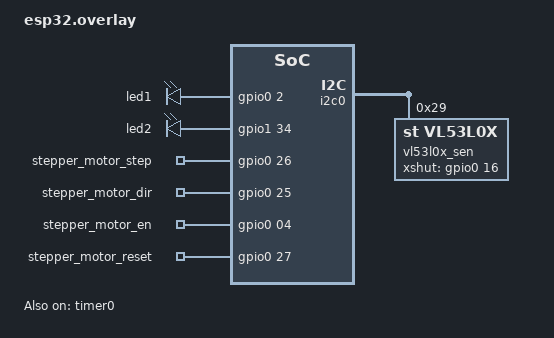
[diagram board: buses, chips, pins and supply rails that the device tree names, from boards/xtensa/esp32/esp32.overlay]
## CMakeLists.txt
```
# SPDX-License-Identifier: Apache-2.0

cmake_minimum_required(VERSION 3.20.0)


find_package(Zephyr REQUIRED HINTS $ENV{ZEPHYR_BASE})

# set(PROJECT_NAME MR_SLDR)

project(MR_SLDR)

target_sources(app PRIVATE 
  src/main.c
  src/slider.c
  src/slider.h
  src/stepper_motor.c
  src/stepper_motor.h
  src/led_manager.c
  src/led_manager.h
  src/distanceMeter.c
  src/distanceMeter.h
  src/slider_bt.c
  src/slider_bt.h
)

# Optionally, you can create a custom target just for creating the symlink
add_custom_target(CreateCompileCommandsSymlink ALL
    DEPENDS ${CMAKE_BINARY_DIR}/compile_commands.json
    COMMAND ${CMAKE_COMMAND} -E create_symlink
    ${CMAKE_BINARY_DIR}/compile_commands.json
    ${CMAKE_SOURCE_DIR}/compile_commands.json
    COMMENT "Creating symbolic link for compile_commands.json in the project root"
)

# Link for purpose of `west espressif monitor` command
add_custom_target(CreateBuildSymlink ALL
    COMMAND ${CMAKE_COMMAND} -E create_symlink
    ${CMAKE_BINARY_DIR}
    ${CMAKE_SOURCE_DIR}/build
    COMMENT "Creating symbolic link 'build' pointing to the current build directory"
)
```

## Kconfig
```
# Copyright (c) 2023 Mikolaj Markiel
# MIT License

# User config for enabling timer autoreset after getting callback
# Be sure to use modified version of counter_esp32_tmr.c library
# More information in README.md file

source "Kconfig.zephyr"

config COUNTER_AUTORELOAD
  bool
  default y
```

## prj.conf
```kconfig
#
# Reference: https://docs.zephyrproject.org/2.7.5/reference/kconfig/index-all.html
#
# Increased stack due to settings API usage
CONFIG_SYSTEM_WORKQUEUE_STACK_SIZE=2048
CONFIG_LOG=y
CONFIG_BT=y
# CONFIG_BT_DEBUG_LOG=y
CONFIG_LOG_DEFAULT_LEVEL=3
CONFIG_LOG_PROCESS_THREAD_SLEEP_MS=100
# CONFIG_NEWLIB_LIBC_FLOAT_PRINTF=y
CONFIG_BT_SMP=y
# CONFIG_BT_DEBUG_SMP=y
CONFIG_BT_SIGNING=y
CONFIG_BT_PERIPHERAL=y
CONFIG_BT_DIS=y
CONFIG_BT_ATT_PREPARE_COUNT=5
CONFIG_BT_PRIVACY=y
CONFIG_BT_DEVICE_NAME="Slider"
CONFIG_BT_DEVICE_APPEARANCE=833
CONFIG_BT_DEVICE_NAME_DYNAMIC=y
CONFIG_BT_DEVICE_NAME_MAX=65

CONFIG_BT_KEYS_OVERWRITE_OLDEST=y
# CONFIG_BT_SETTINGS=y # Not in use. See reference

CONFIG_FLASH=y
CONFIG_FLASH_PAGE_LAYOUT=y
CONFIG_FLASH_MAP=y
CONFIG_NVS=y
CONFIG_COUNTER=y

CONFIG_I2C=y
CONFIG_GPIO=y
CONFIG_SENSOR=y
CONFIG_NEWLIB_LIBC=y
# CONFIG_DEBUG=y

# CONFIG_UART_CONSOLE=y
```

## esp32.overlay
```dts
/ {
	leds {
		compatible = "gpio-leds";
     // camera_control1: camera_control1 { 
     //   gpios = <&gpio1 35 GPIO_ACTIVE_LOW>; 
     // }; 
     // camera_control2: camera_control2 { 
     //   gpios = <&gpio1 35 GPIO_ACTIVE_LOW>; 
     // }; 
     // led1: led1 { 
     //   gpios = <&gpio1 35 GPIO_ACTIVE_HIGH>; 
     // }; 
     // led2: led2 { 
     //   gpios = <&gpio1 34 GPIO_ACTIVE_HIGH>; 
     // }; 
     // led3: led3 { 
     //   gpios = <&gpio1 39 GPIO_ACTIVE_HIGH>; 
     // }; 
     // led4: led4 { 
     //   gpios = <&gpio1 36 GPIO_ACTIVE_HIGH>; 
     // }; 
     // stepper_motor_step: stepper_motor_step { 
     //   gpios = <&gpio0 26 GPIO_ACTIVE_HIGH>; 
     // }; 
     // stepper_motor_dir: stepper_motor_dir { 
     //   gpios = <&gpio0 25 GPIO_ACTIVE_HIGH>; 
     // }; 
     // stepper_motor_en: stepper_motor_en { 
     //   gpios = <&gpio0 04 GPIO_ACTIVE_HIGH>; 
     // }; 
     // stepper_motor_reset: stepper_motor_reset { 
     //   gpios = <&gpio0 04 GPIO_ACTIVE_HIGH>; 
     // }; 
     // stepper_motor_fault: stepper_motor_fault { 
     //   gpios = <&gpio0 04 GPIO_ACTIVE_HIGH>; 
     // }; 
		stepper_motor_step: stepper_motor_step {
			gpios = <&gpio0 2 GPIO_ACTIVE_HIGH>;
		};
		stepper_motor_dir: stepper_motor_dir {
			gpios = <&gpio0 27 GPIO_ACTIVE_HIGH>;
		};
		stepper_motor_en: stepper_motor_en {
			gpios = <&gpio0 26 GPIO_ACTIVE_HIGH>;
		};
	};
};
&timer0 {
  status = "okay";
  prescaler = <80>;
};
&i2c0 {
 vl53l0x_sen: vl53l0x@29{
    compatible = "st,vl53l0x"; 
    reg = < 0x29 >;
    status = "okay";
    friendly-name = "rangefinder";
    xshut-gpios = <&gpio0 16 GPIO_ACTIVE_HIGH>;
  };
};

/* GPIO distribution: */
/* gpio0: */
/*   - 00 - Boot */
/*   - 01 - UART0.TX */
/*   - 02 - U.BATT */
/*   - 03 - UART0.RX */
/*   - 04 - !MOTOR.EN */
/*   - 05 - VSPI.CS */
/*   - 06 -  */
/*   - 07 -  */
/*   - 08 -  */
/*   - 09 -  */
/*   - 10 -  */
/*   - 11 -  */
/*   - 12 - JTAG.TDI */
/*   - 13 - JTAG.TCK */
/*   - 14 - JTAG.TMS */
/*   - 15 - JTAG.TDO */
/*   - 16 - DISTANCE_METER_EN */
/*   - 17 - !MOTOR.FAULT */
/*   - 18 - VSPI.SCK */
/*   - 19 - VSPI.SDI */
/*   - 20 -  */
/*   - 21 - I2C0.SDA */
/*   - 22 - I2C0.SCL */
/*   - 23 - VSPI.SDO */
/*   - 24 -  */
/*   - 25 - MOTOR.DIR */
/*   - 26 - MOTOR.STEP */
/*   - 27 - !MOTOR.RESET */
/*   - 28 -  */
/*   - 29 -  */
/*   - 30 -  */
/*   - 31 -  */
/* gpio1: */
/*   - 32 - !CC1.EN */
/*   - 33 - !CC2.EN */
/*   - 34 - LED2.EN */
/*   - 35 - LED1.EN */
/*   - 36 - LED4.EN */
/*   - 37 -  */
/*   - 38 -  */
/*   - 39 - LED3.EN */
```

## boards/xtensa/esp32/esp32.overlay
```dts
/ {
	leds {
		compatible = "gpio-leds";
     // camera_control1: camera_control1 { 
     //   gpios = <&gpio1 35 GPIO_ACTIVE_LOW>; 
     // }; 
     // camera_control2: camera_control2 { 
     //   gpios = <&gpio1 35 GPIO_ACTIVE_LOW>; 
     // }; 
     led1: led1 { 
       gpios = <&gpio0 2 GPIO_ACTIVE_HIGH>; 
     }; 
     led2: led2 { 
       gpios = <&gpio1 34 GPIO_ACTIVE_HIGH>; 
     }; 
     // led3: led3 { 
     //   gpios = <&gpio1 39 GPIO_ACTIVE_HIGH>; 
     // }; 
     // led4: led4 { 
     //   gpios = <&gpio1 36 GPIO_ACTIVE_HIGH>; 
     // }; 
     stepper_motor_step: stepper_motor_step { 
       gpios = <&gpio0 26 GPIO_ACTIVE_HIGH>; 
     }; 
     stepper_motor_dir: stepper_motor_dir { 
       gpios = <&gpio0 25 GPIO_ACTIVE_HIGH>; 
     }; 
     stepper_motor_en: stepper_motor_en { 
       gpios = <&gpio0 04 GPIO_ACTIVE_HIGH>; 
     }; 
     stepper_motor_reset: stepper_motor_reset { 
       gpios = <&gpio0 27 GPIO_ACTIVE_HIGH>; 
     }; 
     // stepper_motor_fault: stepper_motor_fault { 
     //   gpios = <&gpio0 04 GPIO_ACTIVE_HIGH>; 
     // }; 
	};
};
&timer0 {
  status = "okay";
  prescaler = <80>;
};
&i2c0 {
 vl53l0x_sen: vl53l0x@29{
    compatible = "st,vl53l0x"; 
    reg = < 0x29 >;
    status = "okay";
    friendly-name = "distance-meter";
    xshut-gpios = <&gpio0 16 GPIO_ACTIVE_HIGH>;
  };
};

/* GPIO distribution: */
/* gpio0: */
/*   - 00 - Boot */
/*   - 01 - UART0.TX */
/*   - 02 - U.BATT */
/*   - 03 - UART0.RX */
/*   - 04 - !MOTOR.EN */
/*   - 05 - VSPI.CS */
/*   - 06 -  */
/*   - 07 -  */
/*   - 08 -  */
/*   - 09 -  */
/*   - 10 -  */
/*   - 11 -  */
/*   - 12 - JTAG.TDI */
/*   - 13 - JTAG.TCK */
/*   - 14 - JTAG.TMS */
/*   - 15 - JTAG.TDO */
/*   - 16 - DISTANCE_METER_EN */
/*   - 17 - !MOTOR.FAULT */
/*   - 18 - VSPI.SCK */
/*   - 19 - VSPI.SDI */
/*   - 20 -  */
/*   - 21 - I2C0.SDA */
/*   - 22 - I2C0.SCL */
/*   - 23 - VSPI.SDO */
/*   - 24 -  */
/*   - 25 - MOTOR.DIR */
/*   - 26 - MOTOR.STEP */
/*   - 27 - !MOTOR.RESET */
/*   - 28 -  */
/*   - 29 -  */
/*   - 30 -  */
/*   - 31 -  */
/* gpio1: */
/*   - 32 - !CC1.EN */
/*   - 33 - !CC2.EN */
/*   - 34 - LED2.EN */
/*   - 35 - LED1.EN */
/*   - 36 - LED4.EN */
/*   - 37 -  */
/*   - 38 -  */
/*   - 39 - LED3.EN */
```

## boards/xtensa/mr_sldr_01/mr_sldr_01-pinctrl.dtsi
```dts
/*
 * Copyright (c) 2022 Espressif Systems (Shanghai) Co., Ltd.
 *
 * SPDX-License-Identifier: Apache-2.0
 */

#include <zephyr/dt-bindings/pinctrl/esp-pinctrl-common.h>
#include <dt-bindings/pinctrl/esp32-pinctrl.h>
#include <zephyr/dt-bindings/pinctrl/esp32-gpio-sigmap.h>

&pinctrl {
	//
	uart0_default: uart0_default {
		group1 {
			pinmux = <UART0_TX_GPIO1>;
		};
		group2 {
			pinmux = <UART0_RX_GPIO3>;
			bias-pull-up;
		};
	};

	i2c0_default: i2c0_default {
		group1 {
			pinmux = <I2C0_SDA_GPIO21>,
				 <I2C0_SCL_GPIO22>;
			bias-pull-up;
			drive-open-drain;
			output-high;
		};
	};
};
```

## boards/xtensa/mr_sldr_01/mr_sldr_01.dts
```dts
/*
 * Copyright (c) 2021 Espressif Systems (Shanghai) Co., Ltd.
 *
 * SPDX-License-Identifier: Apache-2.0
 */
/dts-v1/;

#include <espressif/esp32.dtsi>
#include "mr_sldr_01-pinctrl.dtsi"

/ {
	model = "mr_sldr_01";
	compatible = "espressif,esp32";

	chosen {
		zephyr,sram = &sram0;
		zephyr,console = &uart0;
		zephyr,shell-uart = &uart0;
		zephyr,flash = &flash0;
	};

	leds {
		compatible = "gpio-leds";
     // camera_control1: camera_control1 { 
     //   gpios = <&gpio1 0 GPIO_ACTIVE_LOW>; 
     // }; 
     // camera_control2: camera_control2 { 
     //   gpios = <&gpio1 1 GPIO_ACTIVE_LOW>; 
     // }; 
     led1: led1 { 
       gpios = <&gpio1 0 GPIO_ACTIVE_HIGH>; 
     }; 
     led2: led2 { 
       gpios = <&gpio1 1 GPIO_ACTIVE_HIGH>; 
     }; 
     // led3: led3 { 
     //   gpios = <&gpio1 7 GPIO_ACTIVE_HIGH>; 
     // }; 
     // led4: led4 { 
     //   gpios = <&gpio1 4 GPIO_ACTIVE_HIGH>; 
     // }; 
     stepper_motor_step: stepper_motor_step { 
       gpios = <&gpio0 26 GPIO_ACTIVE_HIGH>; 
     }; 
     stepper_motor_dir: stepper_motor_dir { 
       gpios = <&gpio0 25 GPIO_ACTIVE_HIGH>; 
     }; 
     stepper_motor_en: stepper_motor_en { 
       gpios = <&gpio0 04 GPIO_ACTIVE_LOW>; 
     }; 
     stepper_motor_reset: stepper_motor_reset { 
       gpios = <&gpio0 27 GPIO_ACTIVE_LOW>; 
     }; 
     // stepper_motor_fault: stepper_motor_fault { 
     //   gpios = <&gpio0 04 GPIO_ACTIVE_HIGH>; 
     // }; 
	};
};

&cpu0 {
	clock-frequency = <ESP32_CLK_CPU_240M>;
};

&cpu1 {
	clock-frequency = <ESP32_CLK_CPU_240M>;
};

&uart0 {
	status = "okay";
	current-speed = <115200>;
	pinctrl-0 = <&uart0_default>;
	pinctrl-names = "default";
};

&gpio0 {
	status = "okay";
};

&gpio1 {
	status = "okay";
};

&i2c0 {
  clock-frequency = <I2C_BITRATE_STANDARD>;
  pinctrl-0 = <&i2c0_default>;
  pinctrl-names = "default";
  status = "okay";
  sda-gpios = <&gpio0 21 GPIO_OPEN_DRAIN>;
  scl-gpios = <&gpio0 22 GPIO_OPEN_DRAIN>;
 vl53l0x_sen: vl53l0x@29{
    compatible = "st,vl53l0x"; 
    reg = < 0x29 >;
    status = "okay";
    friendly-name = "rangefinder";
    xshut-gpios = <&gpio0 16 GPIO_ACTIVE_HIGH>;
  };
};

&trng0 {
	status = "okay";
};

&timer0 {
	status = "okay";
  prescaler = <80>;
};

&flash0 {
	status = "okay";
	partitions {
		compatible = "fixed-partitions";
		#address-cells = <1>;
		#size-cells = <1>;

		/* Reserve 60kB for the bootloader */
		boot_partition: partition@1000 {
			label = "mcuboot";
			reg = <0x00001000 0x0000F000>;
			read-only;
		};

		/* Reserve 1024kB for the application in slot 0 */
		slot0_partition: partition@10000 {
			label = "image-0";
			reg = <0x00010000 0x00100000>;
		};

		/* Reserve 1024kB for the application in slot 1 */
		slot1_partition: partition@110000 {
			label = "image-1";
			reg = <0x00110000 0x00100000>;
		};

		/* Reserve 256kB for the scratch partition */
		scratch_partition: partition@210000 {
			   label = "image-scratch";
			   reg = <0x00210000 0x00040000>;
		};

		storage_partition: partition@250000 {
			label = "storage";
			reg = <0x00250000 0x00006000>;
		};
	};
};
```

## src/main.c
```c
/*
Copyright (c) 2023 Mikolaj Markiel

Permission is hereby granted, free of charge, to any person obtaining a copy
of this software and associated documentation files (the "Software"), to deal
in the Software without restriction, including without limitation the rights
to use, copy, modify, merge, publish, distribute, sublicense, and/or sell
copies of the Software, and to permit persons to whom the Software is
furnished to do so, subject to the following conditions:

The above copyright notice and this permission notice shall be included in all
copies or substantial portions of the Software.

THE SOFTWARE IS PROVIDED "AS IS", WITHOUT WARRANTY OF ANY KIND, EXPRESS OR
IMPLIED, INCLUDING BUT NOT LIMITED TO THE WARRANTIES OF MERCHANTABILITY,
FITNESS FOR A PARTICULAR PURPOSE AND NONINFRINGEMENT. IN NO EVENT SHALL THE
AUTHORS OR COPYRIGHT HOLDERS BE LIABLE FOR ANY CLAIM, DAMAGES OR OTHER
LIABILITY, WHETHER IN AN ACTION OF CONTRACT, TORT OR OTHERWISE, ARISING FROM,
OUT OF OR IN CONNECTION WITH THE SOFTWARE OR THE USE OR OTHER DEALINGS IN THE
SOFTWARE.
*/

#include "distanceMeter.h"
#include "slider_bt.h"
#include "slider.h"
#include "led_manager.h"

#include <zephyr/kernel.h>
#include <zephyr/logging/log.h>

#include <stdbool.h>

LOG_MODULE_REGISTER(app);

struct appHandler {
    slider_ptr_t slider;
    slider_bt_ptr_t slider_bt;
    distanceMeter_ptr_t distanceMeter;
};

struct appHandler appHandler;

int app_init(void);

int main(void) 
{
    int result = 0;
    if (0 == (result = app_init())) 
    {
        while (1) 
        {
            // distanceMeter_meas(appHandler.distanceMeter);
            leds_blocking_test();
            k_msleep(100);
        }
    }
    return result;
}

int app_init(void) {
    int result;
    int err;
    if (0 != (err = leds_init())) 
    {
        LOG_ERR("Leds init failed [%d]", err);
        result = -1;
    }
    else if (NULL == (appHandler.slider = slider_init()))
    {
        LOG_ERR("Slider init failed");
        result = -2;
    }
    else if (0 != (err = distanceMeter_init(&appHandler.distanceMeter))) {
        LOG_ERR("Distance meter init failed (err %d)", err);
        result = -3;
    }
    else if (0 != (err = slider_bt_init(appHandler.slider)))
    {
        LOG_ERR("Bluetooth module init failed [%d]", err);
        result = -4;
    }
    else 
    {
        LOG_INF("Application started successfully");
        // slider_start(appHandler.slider); // TODO remove

        // slider_config_t s_config = {
        //     .start_pos      = 5,
        //     .end_pos        = 3,
        //     .duration       = 10,
        //     .speed          = 10,
        //     .intervals      = 10,
        //     .interval_delay = 10,
        //     .soft_start     = 10,
        // };
        // slider_updateConfig(appHandler.slider, &s_config);



        result = 0;
    }

    return result;
}
```

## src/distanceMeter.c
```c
/*
Copyright (c) 2023 Mikolaj Markiel

Permission is hereby granted, free of charge, to any person obtaining a copy
of this software and associated documentation files (the "Software"), to deal
in the Software without restriction, including without limitation the rights
to use, copy, modify, merge, publish, distribute, sublicense, and/or sell
copies of the Software, and to permit persons to whom the Software is
furnished to do so, subject to the following conditions:

The above copyright notice and this permission notice shall be included in all
copies or substantial portions of the Software.

THE SOFTWARE IS PROVIDED "AS IS", WITHOUT WARRANTY OF ANY KIND, EXPRESS OR
IMPLIED, INCLUDING BUT NOT LIMITED TO THE WARRANTIES OF MERCHANTABILITY,
FITNESS FOR A PARTICULAR PURPOSE AND NONINFRINGEMENT. IN NO EVENT SHALL THE
AUTHORS OR COPYRIGHT HOLDERS BE LIABLE FOR ANY CLAIM, DAMAGES OR OTHER
LIABILITY, WHETHER IN AN ACTION OF CONTRACT, TORT OR OTHERWISE, ARISING FROM,
OUT OF OR IN CONNECTION WITH THE SOFTWARE OR THE USE OR OTHER DEALINGS IN THE
SOFTWARE.
*/

#include <stdio.h>
#include <stdlib.h>
#include <zephyr/device.h>
#include <zephyr/drivers/sensor.h>
#include <zephyr/kernel.h>

#include "distanceMeter.h"
#include "zephyr/logging/log.h"

#define VL53L0X_DEVICE st_vl53l0x
#define VL53L0X_SAMPLES 10

// TODO: The 250 samples took around 10 seconds to complete, so the delay for every sample is around 40ms
// need to send it to interrupt or even another thread to not block the main thread
// reduce samples to 10 or 20

LOG_MODULE_REGISTER(distanceMeter);

typedef struct distanceMeter
{
    const struct device *vl53l0x_dev;
    // struct sensor_value value;
    int val_mm;
} distanceMeter_t;

// const struct device *const vl53l0x_dev = DEVICE_DT_GET_ONE(st_vl53l0x);
// struct sensor_value distanceMeter_value;


int distanceMeter_init(distanceMeter_ptr_t *pHandle) 
{
    int result = 0;
    distanceMeter_t *distanceMeter = NULL;
    if(NULL == pHandle)
    {
        result = -1;
    }
    else if (NULL == (*pHandle = malloc(sizeof(distanceMeter_t))))
    {
        result = -2;
    }
    else 
    {
        (*pHandle)->vl53l0x_dev = DEVICE_DT_GET_ONE(VL53L0X_DEVICE);
        if(0 == device_is_ready((*pHandle)->vl53l0x_dev))
        {
            result = -3;
        }
        else
        {
            result = 0;
        }
    }

    if (0 != result)
    {
        free(*pHandle);
        *pHandle = NULL;
    }
    return result;
}

int distanceMeter_deinit(distanceMeter_ptr_t *pHandle) 
{
    return 0;
}

int distanceMeter_meas(distanceMeter_ptr_t pHandle) {

    int result = -1;
    int err;
    int value = 0;
    struct sensor_value average = {0}, temp = {0};

    if(NULL == pHandle)
    {
        result = -1;
    }
    else if(0 != sensor_sample_fetch_chan(pHandle->vl53l0x_dev, SENSOR_CHAN_DISTANCE))
    {
        result = -1;
    }
    else if(0 != sensor_channel_get(pHandle->vl53l0x_dev, SENSOR_CHAN_DISTANCE, &temp))
    {
        result = -2;
    }
    // else
    // {
    //     result = 0;
    // }

    else 
    {
        // assume good result
        result = 0;

        for (int i = 0; i < VL53L0X_SAMPLES; i++) 
        {
            if(0 != sensor_sample_fetch_chan(pHandle->vl53l0x_dev, SENSOR_CHAN_DISTANCE))
            {
                result = -1;
            }
            else if(0 != sensor_channel_get(pHandle->vl53l0x_dev, SENSOR_CHAN_DISTANCE, &temp))
            {
                result = -2;
            }
            // else 
            // {
            //     // count running average
            //     average.val1 += (temp.val1 - average.val1) / (i + 1);
            //     average.val2 += (temp.val2 - average.val2) / (i + 1);
            // }
            else
            {
                average.val1 += temp.val1;
                average.val2 += temp.val2;
            }
            // value = sensor.val1 * 1000;
            // value += (sensor.val2 / 1000);
        }
        average.val1 /= VL53L0X_SAMPLES;
        average.val2 /= VL53L0X_SAMPLES;

        value = ((average.val1 * 1000) + (average.val2 / 1000)); // value in mm
    }

    if (0 == result)
    {
        pHandle->val_mm = value;
        LOG_INF("val_mm = %d", value);
    }
    else 
    {
        LOG_ERR("distanceMeter_meas failed [%d]", result);
    }

    return result;
    }

int distance_to_cm(struct sensor_value *val) {
  return val->val1 * 100 + val->val2 / 10000;
}
```

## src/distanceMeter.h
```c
/*
Copyright (c) 2023 Mikolaj Markiel

Permission is hereby granted, free of charge, to any person obtaining a copy
of this software and associated documentation files (the "Software"), to deal
in the Software without restriction, including without limitation the rights
to use, copy, modify, merge, publish, distribute, sublicense, and/or sell
copies of the Software, and to permit persons to whom the Software is
furnished to do so, subject to the following conditions:

The above copyright notice and this permission notice shall be included in all
copies or substantial portions of the Software.

THE SOFTWARE IS PROVIDED "AS IS", WITHOUT WARRANTY OF ANY KIND, EXPRESS OR
IMPLIED, INCLUDING BUT NOT LIMITED TO THE WARRANTIES OF MERCHANTABILITY,
FITNESS FOR A PARTICULAR PURPOSE AND NONINFRINGEMENT. IN NO EVENT SHALL THE
AUTHORS OR COPYRIGHT HOLDERS BE LIABLE FOR ANY CLAIM, DAMAGES OR OTHER
LIABILITY, WHETHER IN AN ACTION OF CONTRACT, TORT OR OTHERWISE, ARISING FROM,
OUT OF OR IN CONNECTION WITH THE SOFTWARE OR THE USE OR OTHER DEALINGS IN THE
SOFTWARE.
*/

#ifndef __DISTANCE_METER__
#define __DISTANCE_METER__

#ifdef __cplusplus
extern "C" {
#endif

#include <zephyr/drivers/sensor.h>
#include <zephyr/kernel.h>

// extern struct sensor_value distanceMeter_value;

typedef struct distanceMeter *distanceMeter_ptr_t;

int distanceMeter_init(distanceMeter_ptr_t *pHandle);

int distanceMeter_meas(distanceMeter_ptr_t pHandle);

int distance_to_cm(struct sensor_value *val);

#ifdef __cplusplus
}
#endif

#endif //__DISTANCE_METER__
```

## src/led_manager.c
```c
/*
Copyright (c) 2023 Mikolaj Markiel

Permission is hereby granted, free of charge, to any person obtaining a copy
of this software and associated documentation files (the "Software"), to deal
in the Software without restriction, including without limitation the rights
to use, copy, modify, merge, publish, distribute, sublicense, and/or sell
copies of the Software, and to permit persons to whom the Software is
furnished to do so, subject to the following conditions:

The above copyright notice and this permission notice shall be included in all
copies or substantial portions of the Software.

THE SOFTWARE IS PROVIDED "AS IS", WITHOUT WARRANTY OF ANY KIND, EXPRESS OR
IMPLIED, INCLUDING BUT NOT LIMITED TO THE WARRANTIES OF MERCHANTABILITY,
FITNESS FOR A PARTICULAR PURPOSE AND NONINFRINGEMENT. IN NO EVENT SHALL THE
AUTHORS OR COPYRIGHT HOLDERS BE LIABLE FOR ANY CLAIM, DAMAGES OR OTHER
LIABILITY, WHETHER IN AN ACTION OF CONTRACT, TORT OR OTHERWISE, ARISING FROM,
OUT OF OR IN CONNECTION WITH THE SOFTWARE OR THE USE OR OTHER DEALINGS IN THE
SOFTWARE.
*/

#include "led_manager.h"

#include <zephyr/drivers/gpio.h>
#include <zephyr/kernel.h>
#include <zephyr/logging/log.h>

LOG_MODULE_REGISTER(led_manager);

// static int led_gpio_configure(const struct gpio_dt_spec *pin);

#define GET_GPIO(name, dts) static const struct gpio_dt_spec name = GPIO_DT_SPEC_GET(DT_NODELABEL(dts), gpios)

GET_GPIO(led_1, led1);
GET_GPIO(led_2, led2);

static const struct gpio_dt_spec leds[] = 
{
    led_1,
    led_2,
};

int leds_init(void)
{
    int result = 0, val = 0;
    size_t num_leds = sizeof(leds)/sizeof(leds[0]);
    for (size_t i = 0; i < num_leds; i++)
    {
        if (0 == gpio_is_ready_dt(&leds[i])) 
        {
            LOG_ERR("led %zu isn't ready", i);
            result = -1;
        }
        else if (0 > (val = gpio_pin_configure_dt(&leds[i], GPIO_OUTPUT_ACTIVE))) 
        {
            LOG_ERR("led %zu configure failed %d", i, val);
            result = -2;
        }
    }
    return result;
}

int leds_blocking_test(void)
{
    size_t num_leds = sizeof(leds)/sizeof(leds[0]);
    int result = 0;
    for (size_t i = 0; i < num_leds; i++)
    {
        result = gpio_pin_toggle_dt(&leds[i]);
    }
    return 0;
}


// static int led_gpio_configure(const struct gpio_dt_spec *pin) 
// {
//     int result = 0;
//     if (NULL == pin)
//     {
//         LOG_ERR("led_gpio_configure: null params");
//         result = -1;
//     }
//     else if (0 == gpio_is_ready_dt(pin)) 
//     {
//         LOG_ERR("led_gpio_configure: led gpio isn't ready");
//         result = -2;
//     }
//     else if (0 > (result = gpio_pin_configure_dt(pin, GPIO_OUTPUT_INACTIVE))) 
//     {
//         LOG_ERR("led_gpio_configure: gpio configure failed");
//         result = -3;
//     }
//     return result;
// }
```

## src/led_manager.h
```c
/*
Copyright (c) 2023 Mikolaj Markiel

Permission is hereby granted, free of charge, to any person obtaining a copy
of this software and associated documentation files (the "Software"), to deal
in the Software without restriction, including without limitation the rights
to use, copy, modify, merge, publish, distribute, sublicense, and/or sell
copies of the Software, and to permit persons to whom the Software is
furnished to do so, subject to the following conditions:

The above copyright notice and this permission notice shall be included in all
copies or substantial portions of the Software.

THE SOFTWARE IS PROVIDED "AS IS", WITHOUT WARRANTY OF ANY KIND, EXPRESS OR
IMPLIED, INCLUDING BUT NOT LIMITED TO THE WARRANTIES OF MERCHANTABILITY,
FITNESS FOR A PARTICULAR PURPOSE AND NONINFRINGEMENT. IN NO EVENT SHALL THE
AUTHORS OR COPYRIGHT HOLDERS BE LIABLE FOR ANY CLAIM, DAMAGES OR OTHER
LIABILITY, WHETHER IN AN ACTION OF CONTRACT, TORT OR OTHERWISE, ARISING FROM,
OUT OF OR IN CONNECTION WITH THE SOFTWARE OR THE USE OR OTHER DEALINGS IN THE
SOFTWARE.
*/

#ifndef __LED_MANAGER_HEADER__
#define __LED_MANAGER_HEADER__

#ifdef __cplusplus
extern "C" {
#endif

#include <zephyr/drivers/gpio.h>

int leds_init(void);
int leds_blocking_test(void);

#ifdef __cplusplus
}
#endif

#endif // __LED_MANAGER_HEADER__
```

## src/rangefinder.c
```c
/*
Copyright (c) 2023 Mikolaj Markiel

Permission is hereby granted, free of charge, to any person obtaining a copy
of this software and associated documentation files (the "Software"), to deal
in the Software without restriction, including without limitation the rights
to use, copy, modify, merge, publish, distribute, sublicense, and/or sell
copies of the Software, and to permit persons to whom the Software is
furnished to do so, subject to the following conditions:

The above copyright notice and this permission notice shall be included in all
copies or substantial portions of the Software.

THE SOFTWARE IS PROVIDED "AS IS", WITHOUT WARRANTY OF ANY KIND, EXPRESS OR
IMPLIED, INCLUDING BUT NOT LIMITED TO THE WARRANTIES OF MERCHANTABILITY,
FITNESS FOR A PARTICULAR PURPOSE AND NONINFRINGEMENT. IN NO EVENT SHALL THE
AUTHORS OR COPYRIGHT HOLDERS BE LIABLE FOR ANY CLAIM, DAMAGES OR OTHER
LIABILITY, WHETHER IN AN ACTION OF CONTRACT, TORT OR OTHERWISE, ARISING FROM,
OUT OF OR IN CONNECTION WITH THE SOFTWARE OR THE USE OR OTHER DEALINGS IN THE
SOFTWARE.
*/

#include <stdio.h>
#include <zephyr/device.h>
#include <zephyr/drivers/sensor.h>
#include <zephyr/kernel.h>

// #define VL53L0X_SAMPLES 1

// const struct device *const vl53l0x_dev = DEVICE_DT_GET_ONE(st_vl53l0x);
struct sensor_value rangefinder_value;

int rangefinder_init(void) { 
  int result = 0;
  // result = !device_is_ready(vl53l0x_dev); 
  return result;
}

int rangefinder_meas(void) {
  // int err;
  // err = sensor_sample_fetch_chan(vl53l0x_dev, SENSOR_CHAN_DISTANCE);
  // if (err) {
  //   return -1;
  // }
  // err =
  //     sensor_channel_get(vl53l0x_dev, SENSOR_CHAN_DISTANCE, &rangefinder_value);
  // if (err) {
  //   return -2;
  // }
  //   int val_mm = 0;
  //   for (int i = 0; i < VL53L0X_SAMPLES; i++) {
  //     err = sensor_sample_fetch_chan(vl53l0x_dev, SENSOR_CHAN_DISTANCE);
  //     if (err) {
  //       return -1;
  //     }
  //     err = sensor_channel_get(vl53l0x_dev, SENSOR_CHAN_DISTANCE,
  //                              &rangefinder_value);
  //     if (err) {
  //       return -2;
  //     }
  //     val_mm = rangefinder_value.val1 * 1000;
  //     val_mm += (rangefinder_value.val2 / 1000);
  //   }
  //   val_mm /= VL53L0X_SAMPLES;
  //   printf("val_mm = %d\n", val_mm);
  //   return val_mm;
  return 0;
}

int distance_to_cm(struct sensor_value *val) {
  return val->val1 * 100 + val->val2 / 10000;
}
```

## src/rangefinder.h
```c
/*
Copyright (c) 2023 Mikolaj Markiel

Permission is hereby granted, free of charge, to any person obtaining a copy
of this software and associated documentation files (the "Software"), to deal
in the Software without restriction, including without limitation the rights
to use, copy, modify, merge, publish, distribute, sublicense, and/or sell
copies of the Software, and to permit persons to whom the Software is
furnished to do so, subject to the following conditions:

The above copyright notice and this permission notice shall be included in all
copies or substantial portions of the Software.

THE SOFTWARE IS PROVIDED "AS IS", WITHOUT WARRANTY OF ANY KIND, EXPRESS OR
IMPLIED, INCLUDING BUT NOT LIMITED TO THE WARRANTIES OF MERCHANTABILITY,
FITNESS FOR A PARTICULAR PURPOSE AND NONINFRINGEMENT. IN NO EVENT SHALL THE
AUTHORS OR COPYRIGHT HOLDERS BE LIABLE FOR ANY CLAIM, DAMAGES OR OTHER
LIABILITY, WHETHER IN AN ACTION OF CONTRACT, TORT OR OTHERWISE, ARISING FROM,
OUT OF OR IN CONNECTION WITH THE SOFTWARE OR THE USE OR OTHER DEALINGS IN THE
SOFTWARE.
*/

#ifndef __DISTANCE_METER__
#define __DISTANCE_METER__

#ifdef __cplusplus
extern "C" {
#endif

#include <zephyr/drivers/sensor.h>
#include <zephyr/kernel.h>

extern struct sensor_value rangefinder_value;

int rangefinder_init(void);

int rangefinder_meas();

#ifdef __cplusplus
}
#endif

#endif //__DISTANCE_METER__
```

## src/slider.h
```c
/*
Copyright (c) 2023 Mikolaj Markiel

Permission is hereby granted, free of charge, to any person obtaining a copy
of this software and associated documentation files (the "Software"), to deal
in the Software without restriction, including without limitation the rights
to use, copy, modify, merge, publish, distribute, sublicense, and/or sell
copies of the Software, and to permit persons to whom the Software is
furnished to do so, subject to the following conditions:

The above copyright notice and this permission notice shall be included in all
copies or substantial portions of the Software.

THE SOFTWARE IS PROVIDED "AS IS", WITHOUT WARRANTY OF ANY KIND, EXPRESS OR
IMPLIED, INCLUDING BUT NOT LIMITED TO THE WARRANTIES OF MERCHANTABILITY,
FITNESS FOR A PARTICULAR PURPOSE AND NONINFRINGEMENT. IN NO EVENT SHALL THE
AUTHORS OR COPYRIGHT HOLDERS BE LIABLE FOR ANY CLAIM, DAMAGES OR OTHER
LIABILITY, WHETHER IN AN ACTION OF CONTRACT, TORT OR OTHERWISE, ARISING FROM,
OUT OF OR IN CONNECTION WITH THE SOFTWARE OR THE USE OR OTHER DEALINGS IN THE
SOFTWARE.
*/

#ifndef __STEPPER_HEADER__
#define __STEPPER_HEADER__

#ifdef __cplusplus
extern "C" {
#endif

#include <stdint.h>

#define STEPS_FACTOR 100 // <x> steps for 1 mm move
#define MIN_MOTOR_DELAY 50

#ifndef DEFAULT_START_POS
  #define DEFAULT_START_POS 0
#endif // !DEFAULT_START_POS

#ifndef DEFAULT_END_POS
  #define DEFAULT_END_POS 15
#endif // !DEFAULT_END_POS

#ifndef DEFAULT_SPEED
  #define DEFAULT_SPEED 1000
#endif // !DEFAULT_SPEED

#ifndef DEFAULT_DIR
  #define DEFAULT_DIR stepperMotor_dir_forward
#endif // !DEFAULT_DIR

// the default number of intervals in single slider process
#ifndef DEFAULT_INTERVALS
  #define DEFAULT_INTERVALS 2
#endif // !DEFAULT_INTERVALS

#ifndef DEFAULT_INTERVAL_DELAY
  #define DEFAULT_INTERVAL_DELAY 250
#endif // !DEFAULT_INTERVAL_DELAY

#ifndef DEFAULT_SOFT_START
  #define DEFAULT_SOFT_START 500
#endif // !DEFAULT_SOFT_START

#ifndef DISABLE_MOTOR_AT_INTERVALS
  #define DISABLE_MOTOR_AT_INTERVALS true
#endif // !DISABLE_MOTOR_AT_INTERVALS

// Stepper Motor DTS
#define MOTOR_GPIO_EN_DTS     stepper_motor_en
#define MOTOR_GPIO_DIR_DTS    stepper_motor_dir
#define MOTOR_GPIO_STEP_DTS   stepper_motor_step
#define MOTOR_GPIO_RESET_DTS  stepper_motor_reset

typedef enum 
{
  sliderStatus_idle,
  sliderStatus_running,
  sliderStatus_halted, 
  sliderStatus_error,
  sliderStatus_calib,
  sliderStatus_end
} sliderStatus_t;

typedef enum
{
  sliderParam_none,
  sliderParam_startPos,
  sliderParam_endPos,
  sliderParam_duration,
  sliderParam_speed,
  sliderParam_intervals,
  sliderParam_intervalDelay,
  sliderParam_softStart
} sliderParam_t;

typedef struct slider_config
{
    uint32_t start_pos;
    uint32_t end_pos;
    uint32_t duration;
    uint32_t speed;
    uint32_t intervals;
    uint32_t interval_delay;
    uint32_t soft_start;
} slider_config_t;

typedef struct slider* slider_ptr_t;
typedef struct slider_thread_data* slider_thread_data_ptr_t;

slider_ptr_t slider_init(void);
int slider_deInit(slider_ptr_t pHandle);
int slider_stop(slider_ptr_t pHandle);
int slider_start(slider_ptr_t pHandle);

int slider_getStatus(void *handler, void *status);
int slider_setStartPos(void *handler, void *value);
int slider_getStartPos(void *handler, void *value);
int slider_setEndPos(void *handler, void *value);
int slider_getEndPos(void *handler, void *value);
int slider_setDuration(void *handler, void *value);
int slider_getDuration(void *handler, void *value);
int slider_setSpeed(void *handler, void *value);
int slider_getSpeed(void *handler, void *value);
int slider_setSoftStart(void *handler, void *value);
int slider_getSoftStart(void *handler, void *value);
int slider_setIntervals(void *handler, void *value);
int slider_getIntervals(void *handler, void *value);
int slider_setIntDelay(void *handler, void *value);
int slider_getIntDelay(void *handler, void *value);

#ifdef __cplusplus
}
#endif

#endif // __STEPPER_HEADER__
```

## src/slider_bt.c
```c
/*
Copyright (c) 2023 Mikolaj Markiel

Permission is hereby granted, free of charge, to any person obtaining a copy
of this software and associated documentation files (the "Software"), to deal
in the Software without restriction, including without limitation the rights
to use, copy, modify, merge, publish, distribute, sublicense, and/or sell
copies of the Software, and to permit persons to whom the Software is
furnished to do so, subject to the following conditions:

The above copyright notice and this permission notice shall be included in all
copies or substantial portions of the Software.

THE SOFTWARE IS PROVIDED "AS IS", WITHOUT WARRANTY OF ANY KIND, EXPRESS OR
IMPLIED, INCLUDING BUT NOT LIMITED TO THE WARRANTIES OF MERCHANTABILITY,
FITNESS FOR A PARTICULAR PURPOSE AND NONINFRINGEMENT. IN NO EVENT SHALL THE
AUTHORS OR COPYRIGHT HOLDERS BE LIABLE FOR ANY CLAIM, DAMAGES OR OTHER
LIABILITY, WHETHER IN AN ACTION OF CONTRACT, TORT OR OTHERWISE, ARISING FROM,
OUT OF OR IN CONNECTION WITH THE SOFTWARE OR THE USE OR OTHER DEALINGS IN THE
SOFTWARE.
*/

#define _GNU_SOURCE         /* See feature_test_macros(7) */

#include "slider_bt.h"
#include "slider.h"

#include <zephyr/bluetooth/bluetooth.h>
#include <zephyr/bluetooth/conn.h>
#include <zephyr/bluetooth/gatt.h>
#include <zephyr/bluetooth/hci.h>
#include <zephyr/bluetooth/uuid.h>
#include <zephyr/kernel.h>
#include <zephyr/logging/log.h>

#include <stdio.h>
#include <stdlib.h>
#include <stdint.h>
#include <string.h>

LOG_MODULE_REGISTER(slider_bt);

#define SLIDER_GATT_PART1 0x88A30000
#define SLIDER_GATT_PART2 0x6CFA
#define SLIDER_GATT_PART3 0x440D
#define SLIDER_GATT_PART4 0x8DDD
#define SLIDER_GATT_PART5 0x4A2D48A4812F
#define SLIDER_SERVICE_MASK 0xFFFF0000

#define SLIDER_UUID(num) \
    BT_UUID_128_ENCODE((SLIDER_GATT_PART1 & SLIDER_SERVICE_MASK) | num, \
                       SLIDER_GATT_PART2, SLIDER_GATT_PART3, SLIDER_GATT_PART4, SLIDER_GATT_PART5)

#define BT_UUID_SLIDER_SERVICE SLIDER_UUID(0x0000)

#define UUID_SUFFIX_SERVICE    (0x0000)
#define UUID_SUFFIX_STATUS     (0x0001)
#define UUID_SUFFIX_CMD        (0x0002)
#define UUID_SUFFIX_START_POS  (0x0010)
#define UUID_SUFFIX_END_POS    (0x0011)
#define UUID_SUFFIX_DURATION   (0x0012)
#define UUID_SUFFIX_SPEED      (0x0013)
#define UUID_SUFFIX_SOFT_START (0x0014)
#define UUID_SUFFIX_INTERVALS  (0x0015)
#define UUID_SUFFIX_DELAY      (0x0016)

#define DEFAULT_WR_PROPS (BT_GATT_CHRC_READ  | BT_GATT_CHRC_WRITE  | BT_GATT_CHRC_NOTIFY | BT_GATT_CHRC_AUTH)
#define DEFAULT_WR_PERMS (BT_GATT_PERM_READ  | BT_GATT_PERM_WRITE)
#define DEFAULT_RO_PROPS (BT_GATT_CHRC_READ  | BT_GATT_CHRC_NOTIFY | BT_GATT_CHRC_AUTH)
#define DEFAULT_RO_PERMS (BT_GATT_PERM_READ)
#define DEFAULT_WO_PROPS (BT_GATT_CHRC_WRITE | BT_GATT_CHRC_AUTH)
#define DEFAULT_WO_PERMS (BT_GATT_PERM_WRITE)


#define SLIDER_ADD_CHARACTERISTIC(_slider_bt, _type, _props, _perms, _read, _write) \
    BT_GATT_CHARACTERISTIC(&_slider_bt.chrc[_type].uuid.uuid, _props, _perms, _read, _write, &_slider_bt.chrc[_type]), \
    BT_GATT_CCC(ct_ccc_changed, BT_GATT_PERM_READ | BT_GATT_PERM_WRITE)
    
#define SLIDER_ADD_RO_STR_CHARACTERISTIC(_slider_bt, _type) \
    SLIDER_ADD_CHARACTERISTIC(_slider_bt, _type, DEFAULT_RO_PROPS, DEFAULT_RO_PERMS, read_str_param, NULL)
/*
#define SLIDER_ADD_WR_STR_CHARACTERISTIC(_slider_bt, _type) \
    SLIDER_ADD_CHARACTERISTIC(_slider_bt, _type, DEFAULT_WR_PROPS, DEFAULT_WR_PERMS, read_str_param, write_str_param)

#define SLIDER_ADD_WO_STR_CHARACTERISTIC(_slider_bt, _type) \
    SLIDER_ADD_CHARACTERISTIC(_slider_bt, _type, DEFAULT_WO_PROPS, DEFAULT_WO_PERMS, NULL, write_str_param)

#define SLIDER_ADD_RO_INT_CHARACTERISTIC(_slider_bt, _type) \
    SLIDER_ADD_CHARACTERISTIC(_slider_bt, _type, DEFAULT_RO_PROPS, DEFAULT_RO_PERMS, read_int_param, NULL)
*/
#define SLIDER_ADD_WR_INT_CHARACTERISTIC(_slider_bt, _type) \
    SLIDER_ADD_CHARACTERISTIC(_slider_bt, _type, DEFAULT_WR_PROPS, DEFAULT_WR_PERMS, read_int_param, write_int_param)
/*
#define SLIDER_ADD_WO_INT_CHARACTERISTIC(_slider_bt, _type) \
    SLIDER_ADD_CHARACTERISTIC(_slider_bt, _type, DEFAULT_WO_PROPS, DEFAULT_WO_PERMS, NULL, write_int_param)
*/

#define SLIDER_CHRC_COUNT 9

enum slider_chrc_type {
    SLIDER_CHRC_STATUS,
    SLIDER_CHRC_CMD,
    SLIDER_CHRC_START_POS,
    SLIDER_CHRC_END_POS,
    SLIDER_CHRC_DURATION,
    SLIDER_CHRC_SPEED,
    SLIDER_CHRC_SOFT_START,
    SLIDER_CHRC_INTERVALS,
    SLIDER_CHRC_INT_DELAY,
};

struct slider_chrc {
    struct bt_uuid_128 uuid;
    int last_int_value;
    char *last_str_value;
	int (*write_cb)(void *handler, void *value);
	int (*read_cb)(void *handler, void *value);
	int (*notify_cb)(struct slider_chrc *handler);
};

typedef struct slider_bt
{
    struct bt_conn_auth_cb auth_cb; 
    struct bt_conn_cb conn_cb;
    struct bt_uuid_128 service;
    size_t param_count;
    uint8_t conn_cnt;
    slider_ptr_t slider;
    struct slider_chrc chrc[SLIDER_CHRC_COUNT];
} slider_bt_t;

static void connected(struct bt_conn *conn, uint8_t err);
static void disconnected(struct bt_conn *conn, uint8_t reason);
static void auth_passkey_display(struct bt_conn *conn, unsigned int passkey);
static void auth_cancel(struct bt_conn *conn);
static void ct_ccc_changed(const struct bt_gatt_attr *attr, uint16_t value);

static int bt_notify_diff_str(struct slider_chrc *handler);
static int bt_notify_diff_int(struct slider_chrc *handler);
static void bt_notify_handler(void);
static ssize_t write_int_param(struct bt_conn *conn, const struct bt_gatt_attr *attr, const void *buf, uint16_t len, uint16_t offset, uint8_t flags);
static ssize_t read_int_param(struct bt_conn *conn, const struct bt_gatt_attr *attr, void *buf, uint16_t len, uint16_t offset);
static ssize_t read_str_param(struct bt_conn *conn, const struct bt_gatt_attr *attr, void *buf, uint16_t len, uint16_t offset);
static ssize_t cmd_handler(struct bt_conn *conn, const struct bt_gatt_attr *attr, const void *buf, uint16_t len, uint16_t offset, uint8_t flags);

slider_bt_t slider_bt = { 
    .auth_cb = 
    {
        .passkey_display = auth_passkey_display,
        .passkey_entry = NULL,
        .cancel = auth_cancel,
    },
    .conn_cb =
    {
        .connected = connected,
        .disconnected = disconnected,
    },
    .service    = BT_UUID_INIT_128(SLIDER_UUID(UUID_SUFFIX_SERVICE)),
    .conn_cnt = 0,
    .chrc = {
        [SLIDER_CHRC_STATUS]     = { BT_UUID_INIT_128(SLIDER_UUID(UUID_SUFFIX_STATUS)),     -1, NULL, NULL,                slider_getStatus,    bt_notify_diff_str},
        [SLIDER_CHRC_CMD]        = { BT_UUID_INIT_128(SLIDER_UUID(UUID_SUFFIX_CMD)),        -1, NULL, NULL,                NULL,                NULL},
        [SLIDER_CHRC_START_POS]  = { BT_UUID_INIT_128(SLIDER_UUID(UUID_SUFFIX_START_POS)),  -1, NULL, slider_setStartPos,  slider_getStartPos,  bt_notify_diff_int},
        [SLIDER_CHRC_END_POS]    = { BT_UUID_INIT_128(SLIDER_UUID(UUID_SUFFIX_END_POS)),    -1, NULL, slider_setEndPos,    slider_getEndPos,    bt_notify_diff_int},
        [SLIDER_CHRC_DURATION]   = { BT_UUID_INIT_128(SLIDER_UUID(UUID_SUFFIX_DURATION)),   -1, NULL, slider_setDuration,  slider_getDuration,  NULL}, // TODO: fill callback
        [SLIDER_CHRC_SPEED]      = { BT_UUID_INIT_128(SLIDER_UUID(UUID_SUFFIX_SPEED)),      -1, NULL, slider_setSpeed,     slider_getSpeed,     bt_notify_diff_int},
        [SLIDER_CHRC_SOFT_START] = { BT_UUID_INIT_128(SLIDER_UUID(UUID_SUFFIX_SOFT_START)), -1, NULL, slider_setSoftStart, slider_getSoftStart, bt_notify_diff_int},
        [SLIDER_CHRC_INTERVALS]  = { BT_UUID_INIT_128(SLIDER_UUID(UUID_SUFFIX_INTERVALS)),  -1, NULL, slider_setIntervals, slider_getIntervals, bt_notify_diff_int},
        [SLIDER_CHRC_INT_DELAY]  = { BT_UUID_INIT_128(SLIDER_UUID(UUID_SUFFIX_DELAY)),      -1, NULL, slider_setIntDelay,  slider_getIntDelay,  bt_notify_diff_int},
    },
};

static const struct bt_data ad[] = 
{
    BT_DATA_BYTES(BT_DATA_FLAGS, (BT_LE_AD_GENERAL | BT_LE_AD_NO_BREDR)),
    BT_DATA_BYTES(BT_DATA_UUID128_ALL, BT_UUID_SLIDER_SERVICE),
    BT_DATA_BYTES(BT_DATA_NAME_COMPLETE, CONFIG_BT_DEVICE_NAME),
};

static const struct bt_data sd[] = 
{
    BT_DATA_BYTES(BT_DATA_FLAGS, (BT_LE_AD_GENERAL | BT_LE_AD_NO_BREDR)),
    BT_DATA_BYTES(BT_DATA_UUID128_ALL, BT_UUID_SLIDER_SERVICE),
    BT_DATA_BYTES(BT_DATA_NAME_COMPLETE, CONFIG_BT_DEVICE_NAME),
};


BT_GATT_SERVICE_DEFINE
(
    slider_service, BT_GATT_PRIMARY_SERVICE(&slider_bt.service.uuid),
    SLIDER_ADD_RO_STR_CHARACTERISTIC(slider_bt, SLIDER_CHRC_STATUS),
    SLIDER_ADD_WR_INT_CHARACTERISTIC(slider_bt, SLIDER_CHRC_START_POS),
    SLIDER_ADD_WR_INT_CHARACTERISTIC(slider_bt, SLIDER_CHRC_END_POS),
    SLIDER_ADD_WR_INT_CHARACTERISTIC(slider_bt, SLIDER_CHRC_DURATION),
    SLIDER_ADD_WR_INT_CHARACTERISTIC(slider_bt, SLIDER_CHRC_SPEED),
    SLIDER_ADD_WR_INT_CHARACTERISTIC(slider_bt, SLIDER_CHRC_SOFT_START),
    SLIDER_ADD_WR_INT_CHARACTERISTIC(slider_bt, SLIDER_CHRC_INTERVALS),
    SLIDER_ADD_WR_INT_CHARACTERISTIC(slider_bt, SLIDER_CHRC_INT_DELAY),
    SLIDER_ADD_CHARACTERISTIC(slider_bt, SLIDER_CHRC_CMD, DEFAULT_WO_PROPS, DEFAULT_WO_PERMS, NULL, cmd_handler)
);

K_THREAD_DEFINE(bt_notify, 1024, bt_notify_handler, NULL, NULL, NULL, 7, 0, 0);

int slider_bt_init(slider_ptr_t slider_ptr) 
{
    int result            = -1;
    int err               = 0;

    bt_conn_cb_register(&slider_bt.conn_cb);

    if(NULL == slider_ptr)
    {
        LOG_ERR("null slider ptr");
        result = -1;
    }
    else 
    {
        if(0 != (err = bt_enable(NULL)))
        {
            LOG_ERR("Bluetooth init failed (err %d)", err);
            result = -2;
        }
        else if(0 != (err = bt_conn_auth_cb_register(&slider_bt.auth_cb)))
        {
            LOG_ERR("bt_conn_auth_cb_register failed: (err %d)", err);
            result = -3;
        }
        else if(0 != (err = bt_le_adv_start(BT_LE_ADV_CONN, ad, ARRAY_SIZE(ad), sd, ARRAY_SIZE(sd))))
        {
            LOG_ERR("Advertising failed to start (err %d)", err);
            result = -4;
        }
        else 
        {
            slider_bt.slider = slider_ptr;
            LOG_INF("slider_bt success");
            result = 0;
        }
    }

    if (0 != result)
    {
        bt_le_adv_stop();
        bt_disable();
    }

    return result;
}

static void connected(struct bt_conn *conn, uint8_t err) 
{
    if (err) 
    {
        printk("Connection failed (err %u)\n", err);
        return;
    }
    slider_bt.conn_cnt++;
    LOG_INF("Connected, current connections: %d", slider_bt.conn_cnt);
}

static void disconnected(struct bt_conn *conn, uint8_t reason) 
{
    if (slider_bt.conn_cnt > 0) 
    {
        slider_bt.conn_cnt--;
    }
    LOG_INF("Disconnected (reason %u), current connections: %d", reason, slider_bt.conn_cnt);
}

static void auth_passkey_display(struct bt_conn *conn, unsigned int passkey) 
{
    char addr[BT_ADDR_LE_STR_LEN];

    bt_addr_le_to_str(bt_conn_get_dst(conn), addr, sizeof(addr));

    printk("Passkey for %s: %06u\n", addr, passkey);
}

static void auth_cancel(struct bt_conn *conn) 
{
    char addr[BT_ADDR_LE_STR_LEN];

    bt_addr_le_to_str(bt_conn_get_dst(conn), addr, sizeof(addr));

    printk("Pairing cancelled: %s\n", addr);
}

static void ct_ccc_changed(const struct bt_gatt_attr *attr, uint16_t value) 
{
    /* TODO: Handle value */
}

static int bt_notify_diff_str(struct slider_chrc *handler) 
{
    int result = -1;
    char *value = NULL;
    struct bt_gatt_attr * attr = NULL;

    if((NULL == handler) || (NULL == handler->read_cb))
    {
        result = -1;
    }
    else if(0 != handler->read_cb(slider_bt.slider, &value))
    {
        result = -2;
    }
    else if((NULL != value) && (NULL != handler->last_str_value) && (0 == strcmp(value, handler->last_str_value)))
    {
        // no change
        result = 0;
    }
    else if (NULL == (attr = bt_gatt_find_by_uuid(slider_service.attrs, slider_service.attr_count, &handler->uuid.uuid)))
    {
        result = -3;
    }
    else if (0 != bt_gatt_notify(NULL, attr, value, strlen(value)))
    {
        result = -5;
    }
    else
    {
        handler->last_str_value = value;
        result = 1;
    }
    // // TODO exchange if server has opportunity to know that client notification is
    // // enabled
    return result;
}

static int bt_notify_diff_int(struct slider_chrc *handler) 
{
    int result = -1;
    int value = 0;
    int err = 0;
    char buf[6];
    struct bt_gatt_attr * attr = NULL;
    if((NULL == handler) || (NULL == handler->read_cb))
    {
        result = -1;
    }
    else if(0 != handler->read_cb(slider_bt.slider, &value))
    {
        result = -2;
    }
    else if(value == handler->last_int_value)
    {
        // no change
        result = 0;
    }
    else if (NULL == (attr = bt_gatt_find_by_uuid(slider_service.attrs, slider_service.attr_count, &handler->uuid.uuid)))
    {
        result = -3;
    }
    else if(0 >= snprintk(buf, sizeof(buf), "%04u", value))
    {
        result = -4;
    }
    else if (0 != (err = bt_gatt_notify(NULL, attr, buf, strlen(buf))))
    {
        result = -5;
    }
    else
    {
        handler->last_int_value = value;
        result = 1;
    }
    // // TODO exchange if server has opportunity to know that client notification is
    // // enabled
    return result;
}

static void bt_notify_handler(void) 
{
    int result = 0;
    while(1)
    {
        for(size_t i = 0; i < SLIDER_CHRC_COUNT; i++)
        {
            if((0 == slider_bt.conn_cnt) || (NULL == slider_bt.chrc[i].notify_cb))
            {
                continue;
            }
            else if(0 > (result = slider_bt.chrc[i].notify_cb(&slider_bt.chrc[i])))
            {
                // LOG_ERR("gatt notify type %zu failed: %d", i, result);
            }
        }
        k_msleep(100);
    }
}

static ssize_t write_int_param(struct bt_conn *conn, const struct bt_gatt_attr *attr, const void *buf, uint16_t len, uint16_t offset, uint8_t flags) 
{
    int result = -1;
    int value = 0;
    char val_str[12] = {0};

    struct slider_chrc *chrc = (struct slider_chrc *)attr->user_data;
    if ((NULL == chrc) || (NULL == chrc->write_cb)) 
    {
        LOG_ERR("write int value, invalid characteristic or write callback");
        result = -1;
    }
    else if (0 > snprintk(val_str, len+1, "%s", (char *)buf)) 
    {
        LOG_ERR("write int value, buffer too small");
        result = -2; // Error: Buffer too small
    }
    else if(0 > (value = atoi(val_str)))
    {
        LOG_ERR("write int value, atoi failed");
        result = -3; // Error: atoi failed
    }
    else if (0 != (result = chrc->write_cb(slider_bt.slider, &value))) 
    {
        LOG_ERR("write int value, write cb failed");
        result = -4; // Error: write_cb failed
    }
    else 
    {
        LOG_INF("write value, int: %d", value);
        result = len; // Success
    }
    return result; // Success
}

static ssize_t read_int_param(struct bt_conn *conn, const struct bt_gatt_attr *attr, void *buf, uint16_t len, uint16_t offset) 
{
    struct slider_chrc *chrc = (struct slider_chrc *)attr->user_data; // TODO: remake
    if ((NULL == chrc) || (NULL == chrc->read_cb))
    {
        LOG_INF("read int - error null param");
        return -1; // Error: Invalid characteristic or read callback
    }

    int value;
    int result = chrc->read_cb(slider_bt.slider, &value);
    if (result < 0) 
    {
        LOG_INF("read int - error at cb %d", result);
        return result; // Error: read_cb failed
    }

    char value_str[12] = {0};
    snprintf(value_str, sizeof(value_str), "%d", value);
    LOG_INF("read value, int: %d, str: %s", value, value_str);

    return bt_gatt_attr_read(conn, attr, buf, len, offset, value_str, strlen(value_str));
}

static ssize_t read_str_param(struct bt_conn *conn, const struct bt_gatt_attr *attr, void *buf, uint16_t len, uint16_t offset) 
{
    struct slider_chrc *chrc = (struct slider_chrc *)attr->user_data; // TODO: remake
    if ((NULL == chrc) || (NULL == chrc->read_cb))
    {
        LOG_INF("read int - error null param");
        return -1; // Error: Invalid characteristic or read callback
    }

    char *value;
    int result = chrc->read_cb(slider_bt.slider, &value);
    if (result < 0) 
    {
        LOG_INF("read int - error at cb %d", result);
        return result; // Error: read_cb failed
    }

    LOG_INF("read value, str: %s", value);

    return bt_gatt_attr_read(conn, attr, buf, len, offset, value, strlen(value));
}

static ssize_t cmd_handler(struct bt_conn *conn, const struct bt_gatt_attr *attr, const void *buf, uint16_t len, uint16_t offset, uint8_t flags) 
{
    int result = -1;
    char cmd[10] = {0};
    char *buffer = (char *)buf;
    k_msleep(500);
    if (len > (sizeof(cmd) - 1)) 
    {
        LOG_ERR("too long cmd input! resize buffer");
        result = -1;
    }
    else if (0 == snprintk(cmd, (len + 1), "%s", buffer)) 
    {
        result = -2;
    }
    else {
        // assume success
        result = len;
        LOG_INF("cmd handler cmd: \"%s\"", cmd);
        if(0 == strcmp(cmd, "start"))
        {
            slider_start(slider_bt.slider);
        }
        else if(0 == strcmp(cmd, "stop"))
        {
            slider_stop(slider_bt.slider);
        }
        else if(0 == strcmp(cmd, "calib"))
        {
            // slider_calib(slider_bt.slider);
        }
        else
        {
            LOG_ERR("wrong command \"%s\"", cmd);
            result = -3;
        }
    }
    return result;
}
```
